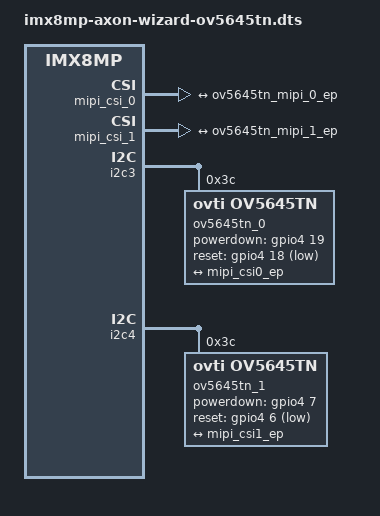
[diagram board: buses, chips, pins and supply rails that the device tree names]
#include "imx8mp-axon-wizard.dts"

&mipi_csi_0 {
	#address-cells = <1>;
	#size-cells = <0>;
	status = "okay";

	port@0 {
		reg = <0>;
		mipi_csi0_ep: endpoint {
			remote-endpoint = <&ov5645tn_mipi_0_ep>;
			data-lanes = <2>;
			csis-hs-settle = <13>;
			csis-clk-settle = <2>;
			csis-wclk;
		};
	};
};

&mipi_csi_1 {
	#address-cells = <1>;
	#size-cells = <0>;
	status = "okay";

	port@1 {
		reg = <1>;
		mipi_csi1_ep: endpoint {
			remote-endpoint = <&ov5645tn_mipi_1_ep>;
			data-lanes = <2>;
			csis-hs-settle = <13>;
			csis-clk-settle = <2>;
			csis-wclk;
		};
	};
};

&i2c3 {
	status = "okay";

	ov5645tn_0: ov5645tn_mipi@3c {
		compatible = "ovti,ov5645tn";
		reg = <0x3c>;
		pinctrl-names = "default";
		pinctrl-0 = <&pinctrl_csi0_pwn>, <&pinctrl_csi0_rst>;
		clocks = <&clk IMX8MP_CLK_IPP_DO_CLKO1>;
		clock-names = "xclk";
		assigned-clocks = <&clk IMX8MP_CLK_IPP_DO_CLKO1>;
		assigned-clock-parents = <&clk IMX8MP_CLK_24M>;
		assigned-clock-rates = <24000000>;
		csi_id = <0>;
		powerdown-gpios = <&gpio4 19 GPIO_ACTIVE_HIGH>;
		reset-gpios = <&gpio4 18 GPIO_ACTIVE_LOW>;
		mclk = <24000000>;
		mclk_source = <0>;
		mipi_csi;
		status = "okay";

		port {
			ov5645tn_mipi_0_ep: endpoint {
				remote-endpoint = <&mipi_csi0_ep>;
				data-lanes = <1 2>;
				clock-lanes = <0>;
			};
		};
	};
};

&i2c4 {
	status = "okay";

	ov5645tn_1: ov5645tn_mipi@3c {
		compatible = "ovti,ov5645tn";
		reg = <0x3c>;
		pinctrl-names = "default";
		pinctrl-0 = <&pinctrl_csi1_pwn>, <&pinctrl_csi1_rst>;
		clocks = <&clk IMX8MP_CLK_IPP_DO_CLKO2>;
		clock-names = "xclk";
		assigned-clocks = <&clk IMX8MP_CLK_IPP_DO_CLKO2>;
		assigned-clock-parents = <&clk IMX8MP_CLK_24M>;
		assigned-clock-rates = <24000000>;
		csi_id = <0>;
		powerdown-gpios = <&gpio4 7 GPIO_ACTIVE_HIGH>;
		reset-gpios = <&gpio4 6 GPIO_ACTIVE_LOW>;
		mclk = <24000000>;
		mclk_source = <0>;
		mipi_csi;
		status = "okay";

		port {
			ov5645tn_mipi_1_ep: endpoint {
				remote-endpoint = <&mipi_csi1_ep>;
				data-lanes = <1 2>;
				clock-lanes = <0>;
			};
		};
	};
};

